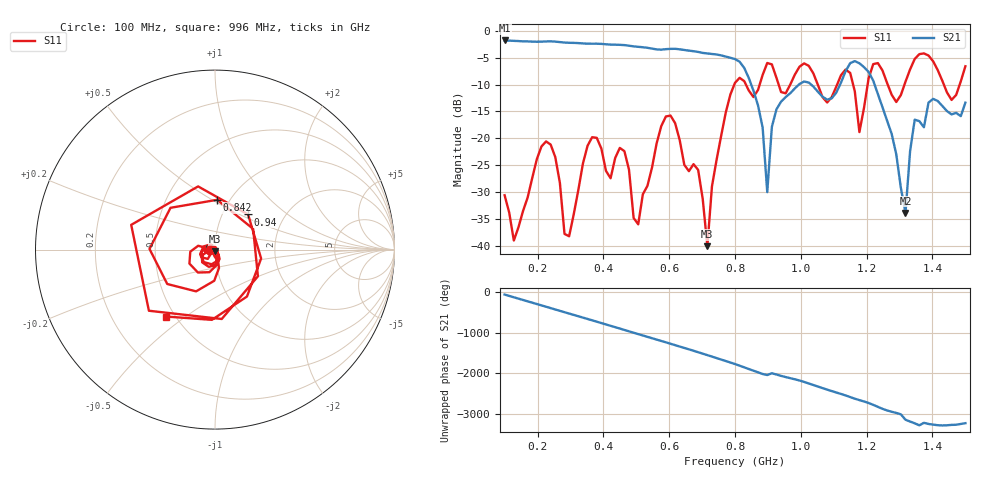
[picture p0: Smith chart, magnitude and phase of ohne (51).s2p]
! NanoVNA-App
! Date: 2025-09-25 14:21:12
! Start: 100MHz Stop: 1,5GHz Points: 101
! S-Parameter data: F S11 S21 S12 S22
# Hz S RI R 50
!  Frequency  S11_Real  S11_Imag  S21_Real  S21_Imag  S12_Real  S12_Imag  S22_Real  S22_Imag
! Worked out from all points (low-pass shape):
!   101 points, 100 MHz to 1.5 GHz, reference 50 ohm
!   highest |S21| = -1.79 dB at 100 MHz (marker M1); lowest = -33.9 dB at 1.318 GHz (marker M2)
!   |S21| within 3 dB of the highest: start of sweep to 771.5 MHz
!   lowest |S11| = -40.1 dB at 716 MHz (marker M3), VSWR 1.02, Z = 49.8 - j0.963 ohm
!   |S11| at or under -10 dB: start of sweep to 798 MHz; 833 MHz to 875 MHz (42.02 MHz wide, 4.92 % of centre); 1.051 GHz to 1.11 GHz (58.99 MHz wide, 5.46 % of centre) (the widest 3 of 7)
!   S12 and S22 are empty: the file has one direction only
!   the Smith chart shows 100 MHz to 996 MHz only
!   S11 on the Smith chart (normalised r, x): 100 MHz: 0.94, -0.01; 842 MHz: 0.88, +0.53; 940 MHz: 1.32, +0.56; 996 MHz: 0.44, -0.42
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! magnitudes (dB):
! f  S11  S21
! 100 MHz  -30.6  -1.8
! 128 MHz  -39.1  -1.9
! 226 MHz  -20.6  -2.0
! 296 MHz  -38.3  -2.2
! 338 MHz  -24.7  -2.3
! 464 MHz  -22.4  -2.7
! 506 MHz  -36.0  -3.0
! 576 MHz  -17.7  -3.5
! 688 MHz  -25.9  -3.9
! 716 MHz  -40.1  -4.2
! 800 MHz  -9.7  -5.3
! 842 MHz  -11.1  -8.8
! 898 MHz  -6.0  -30.1
! 940 MHz  -11.4  -13.2
! 996 MHz  -6.7  -9.9
! 1.038 GHz  -7.9  -10.4
! 1.178 GHz  -18.9  -6.1
! 1.22 GHz  -6.2  -9.3
! 1.276 GHz  -11.9  -19.2
! 1.318 GHz  -9.5  -33.9
! 1.346 GHz  -5.2  -16.5
! 1.5 GHz  -6.6  -13.4
